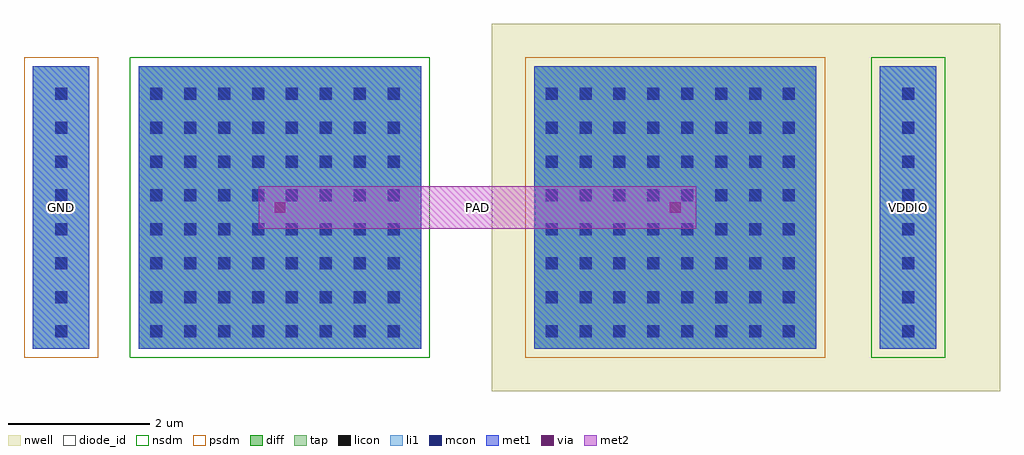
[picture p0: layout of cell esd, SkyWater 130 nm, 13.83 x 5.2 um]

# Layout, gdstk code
import gdstk
lib = gdstk.Library(unit=1e-6, precision=1e-09)
def R(c, l, rs):  # rectangles x0, y0, x1, y1
    for r in rs: c.add(gdstk.rectangle(r[:2], r[2:], *l))
def A(c, l, x, y, w, h, nx, ny, dx, dy):  # array of equal rectangles
    R(c, l, [(x+i*dx, y+j*dy, x+i*dx+w, y+j*dy+h) for i in range(nx) for j in range(ny)])
nwell = (64, 20)
diff = (65, 20)
tap = (65, 44)
licon = (66, 44)
li1 = (67, 20)
mcon = (67, 44)
met1 = (68, 20)
via = (68, 44)
met2 = (69, 20)
diode_id = (81, 23)
nsdm = (93, 44)
psdm = (94, 20)

esd = lib.new_cell('esd')
R(esd, nwell, [(5,-0.6,12.2,4.6)])
R(esd, diff, [(0,0,4,4), (5.6,0,9.6,4)])
R(esd, tap, [(-1.5,0,-0.7,4), (10.5,0,11.3,4)])
A(esd, licon, -1.185, 0.165, 0.17, 0.17, 1, 8, 0, 0.48)
A(esd, licon, 0.165, 0.165, 0.17, 0.17, 8, 8, 0.48, 0.48)
A(esd, licon, 5.765, 0.165, 0.17, 0.17, 8, 8, 0.48, 0.48)
A(esd, licon, 10.815, 0.165, 0.17, 0.17, 1, 8, 0, 0.48)
R(esd, li1, [(-1.5,0,-0.7,4), (0,0,4,4), (5.6,0,9.6,4), (10.5,0,11.3,4)])
A(esd, mcon, -1.185, 0.165, 0.17, 0.17, 1, 8, 0, 0.48)
A(esd, mcon, 0.165, 0.165, 0.17, 0.17, 8, 8, 0.48, 0.48)
A(esd, mcon, 5.765, 0.165, 0.17, 0.17, 8, 8, 0.48, 0.48)
A(esd, mcon, 10.815, 0.165, 0.17, 0.17, 1, 8, 0, 0.48)
R(esd, met1, [(-1.5,0,-0.7,4), (0,0,4,4), (5.6,0,9.6,4), (10.5,0,11.3,4)])
R(esd, via, [(1.925,1.925,2.075,2.075), (7.525,1.925,7.675,2.075)])
R(esd, met2, [(1.7,1.7,7.9,2.3)])
R(esd, diode_id, [(0,0,4,4), (5.6,0,9.6,4)])
R(esd, nsdm, [(-0.125,-0.125,4.125,4.125), (10.375,-0.125,11.425,4.125)])
R(esd, psdm, [(-1.625,-0.125,-0.575,4.125), (5.475,-0.125,9.725,4.125)])
esd.add(gdstk.Label('PAD', (4.8,2), layer=69, texttype=5))
esd.add(gdstk.Label('GND', (-1.1,2), layer=68, texttype=5))
esd.add(gdstk.Label('VDDIO', (10.9,2), layer=68, texttype=5))

lib.write_gds('esd.gds')
